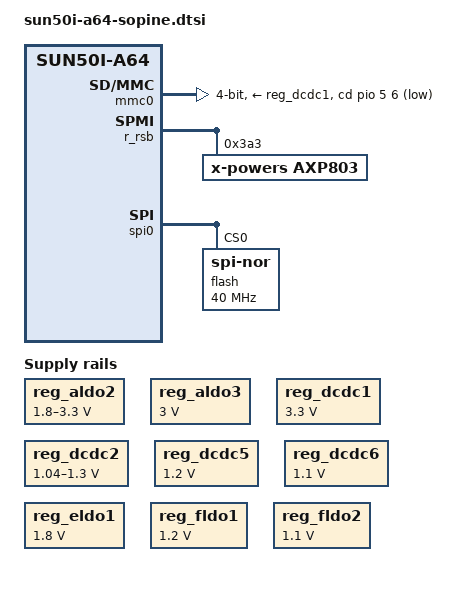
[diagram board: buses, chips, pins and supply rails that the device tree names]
// SPDX-License-Identifier: (GPL-2.0+ OR MIT)
// Copyright (c) 2017 Icenowy Zheng <icenowy@aosc.xyz>
// Based on sun50i-a64-pine64.dts, which is:
//   Copyright (c) 2016 ARM Ltd.

#include "sun50i-a64.dtsi"
#include "sun50i-a64-cpu-opp.dtsi"

#include <dt-bindings/gpio/gpio.h>

&codec_analog {
	cpvdd-supply = <&reg_eldo1>;
};

&cpu0 {
	cpu-supply = <&reg_dcdc2>;
};

&cpu1 {
	cpu-supply = <&reg_dcdc2>;
};

&cpu2 {
	cpu-supply = <&reg_dcdc2>;
};

&cpu3 {
	cpu-supply = <&reg_dcdc2>;
};

&mmc0 {
	pinctrl-names = "default";
	pinctrl-0 = <&mmc0_pins>;
	vmmc-supply = <&reg_dcdc1>;
	disable-wp;
	bus-width = <4>;
	cd-gpios = <&pio 5 6 GPIO_ACTIVE_LOW>; /* PF6 */
	status = "okay";
};

&r_rsb {
	status = "okay";

	axp803: pmic@3a3 {
		compatible = "x-powers,axp803";
		reg = <0x3a3>;
		interrupt-parent = <&r_intc>;
		interrupts = <GIC_SPI 32 IRQ_TYPE_LEVEL_LOW>;
	};
};

&spi0  {
	status = "okay";

	flash@0 {
		#address-cells = <1>;
		#size-cells = <1>;
		compatible = "jedec,spi-nor";
		reg = <0>;
		spi-max-frequency = <40000000>;
	};
};

#include "axp803.dtsi"

&reg_aldo2 {
	regulator-always-on;
	regulator-min-microvolt = <1800000>;
	regulator-max-microvolt = <3300000>;
	regulator-name = "vcc-pl";
};

&reg_aldo3 {
	regulator-always-on;
	regulator-min-microvolt = <3000000>;
	regulator-max-microvolt = <3000000>;
	regulator-name = "vcc-pll-avcc";
};

&reg_dcdc1 {
	regulator-always-on;
	regulator-min-microvolt = <3300000>;
	regulator-max-microvolt = <3300000>;
	regulator-name = "vcc-3v3";
};

&reg_dcdc2 {
	regulator-always-on;
	regulator-min-microvolt = <1040000>;
	regulator-max-microvolt = <1300000>;
	regulator-name = "vdd-cpux";
};

/* DCDC3 is polyphased with DCDC2 */

&reg_dcdc5 {
	regulator-always-on;
	regulator-min-microvolt = <1200000>;
	regulator-max-microvolt = <1200000>;
	regulator-name = "vcc-dram";
};

&reg_dcdc6 {
	regulator-always-on;
	regulator-min-microvolt = <1100000>;
	regulator-max-microvolt = <1100000>;
	regulator-name = "vdd-sys";
};

&reg_eldo1 {
	regulator-always-on;
	regulator-min-microvolt = <1800000>;
	regulator-max-microvolt = <1800000>;
	regulator-name = "vdd-1v8-lpddr";
};

&reg_fldo1 {
	regulator-min-microvolt = <1200000>;
	regulator-max-microvolt = <1200000>;
	regulator-name = "vcc-1v2-hsic";
};

/*
 * The A64 chip cannot work without this regulator off, although
 * it seems to be only driving the AR100 core.
 * Maybe we don't still know well about CPUs domain.
 */
&reg_fldo2 {
	regulator-always-on;
	regulator-min-microvolt = <1100000>;
	regulator-max-microvolt = <1100000>;
	regulator-name = "vdd-cpus";
};

&reg_rtc_ldo {
	regulator-name = "vcc-rtc";
};
